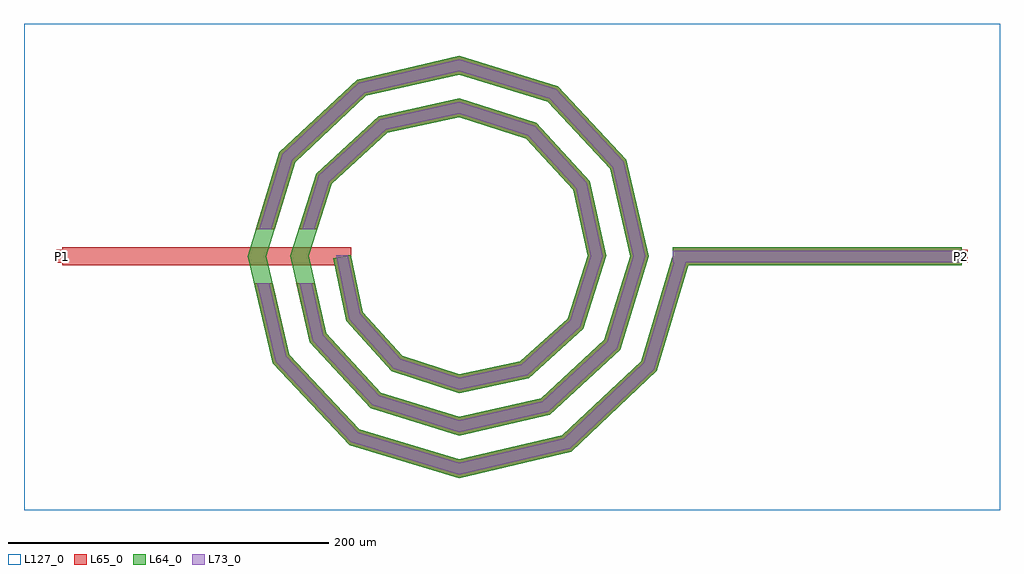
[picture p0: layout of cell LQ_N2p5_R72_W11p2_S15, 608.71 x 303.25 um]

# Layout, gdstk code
import gdstk
lib = gdstk.Library(unit=1e-6, precision=1e-09)
def R(c, l, rs):  # rectangles x0, y0, x1, y1
    for r in rs: c.add(gdstk.rectangle(r[:2], r[2:], *l))
def P(c, l, *ps):  # polygons
    for p in ps: c.add(gdstk.Polygon(p, *l))
L64_0 = (64, 0)
L65_0 = (65, 0)
L73_0 = (73, 0)
L127_0 = (127, 0)

lq_n2p5_r72_w11p2_s15 = lib.new_cell('LQ_N2p5_R72_W11p2_S15')
R(lq_n2p5_r72_w11p2_s15, L64_0, [(133.48,-5.6,313.48,5.6)])
P(lq_n2p5_r72_w11p2_s15, L64_0, [(-59.809,-34.898),(-35.459,-62.035),(0.3,-73.661),(38.188,-65.559),(67.759,-38.792),(80.286,0.277),(71.307,41.481),(42.123,73.486),(0.258,86.91),(-44.777,77.053),(-79.214,45.45),(-93.535,0.24),(-82.798,-48.075),(-48.776,-84.943),(0.225,-100.16),(51.375,-88.543),(90.674,-52.101),(106.784,0.212),(94.286,54.676),(55.424,96.405),(0.2,113.409),(-57.979,100.029),(-102.137,58.746),(-120.034,0.19),(-105.772,-61.283),(-62.067,-107.869),(0.18,-126.659),(64.587,-111.514),(113.602,-65.387),(133.716,1.61),(144.443,-1.61),(123.465,-71.484),(70.075,-121.729),(0.18,-138.249),(-68.179,-117.723),(-115.996,-66.755),(-131.624,0.19),(-111.98,64.875),(-63.433,110.263),(0.2,124.998),(61.572,106.237),(104.53,60.111),(118.373,0.212),(100.493,-58.27),(56.787,-98.799),(0.225,-111.747),(-54.969,-94.748),(-93.068,-53.461),(-105.121,0.24),(-89.002,51.669),(-50.134,87.338),(0.258,98.495),(48.372,83.255),(81.609,46.805),(91.869,0.277),(77.506,-45.077),(43.473,-75.882),(0.3,-85.243),(-41.785,-71.755),(-70.156,-40.137),(-78.309,-1.146),(-67.346,1.146)])
R(lq_n2p5_r72_w11p2_s15, L65_0, [(-247.227,-5.6,-67.227,5.6), (133.48,-5.6,313.48,5.6), (-251.227,-4,-243.227,4), (309.48,-4,317.48,4)])
P(lq_n2p5_r72_w11p2_s15, L65_0, [(-105.772,-61.283),(-62.067,-107.869),(0.18,-126.659),(64.587,-111.514),(113.602,-65.387),(133.716,1.61),(144.443,-1.61),(123.466,-71.484),(70.075,-121.729),(0.18,-138.249),(-68.179,-117.723),(-115.996,-66.755),(-127.658,-16.8),(-116.156,-16.8)],
  [(-82.798,-48.075),(-48.776,-84.943),(0.225,-100.16),(51.375,-88.543),(90.674,-52.101),(106.784,0.212),(94.286,54.677),(55.424,96.405),(0.2,113.409),(-57.979,100.029),(-102.137,58.746),(-114.875,16.8),(-126.58,16.8),(-111.98,64.875),(-63.433,110.263),(0.2,124.998),(61.572,106.237),(104.531,60.111),(118.373,0.212),(100.493,-58.27),(56.787,-98.799),(0.225,-111.747),(-54.969,-94.748),(-93.068,-53.461),(-101.297,-16.8),(-89.818,-16.8)],
  [(-35.459,-62.035),(0.3,-73.661),(38.188,-65.559),(67.76,-38.792),(80.286,0.277),(71.307,41.481),(42.123,73.486),(0.258,86.91),(-44.777,77.053),(-79.214,45.45),(-88.194,16.8),(-99.931,16.8),(-89.002,51.669),(-50.134,87.338),(0.258,98.496),(48.372,83.255),(81.609,46.805),(91.869,0.277),(77.506,-45.077),(43.473,-75.882),(0.3,-85.243),(-41.785,-71.755),(-70.156,-40.137),(-78.309,-1.146),(-67.346,1.146),(-59.809,-34.898)])
R(lq_n2p5_r72_w11p2_s15, L73_0, [(133.48,-3.6,313.48,3.6)])
P(lq_n2p5_r72_w11p2_s15, L73_0, [(-107.598,-62.26),(-63.158,-109.629),(0.116,-128.729),(65.567,-113.338),(115.364,-66.476),(135.632,1.035),(142.528,-1.035),(121.704,-70.396),(69.095,-119.905),(0.116,-136.18),(-67.088,-115.964),(-114.17,-65.778),(-125.604,-16.8),(-118.21,-16.8)],
  [(-84.632,-49.037),(-49.882,-86.694),(0.145,-102.229),(52.341,-90.374),(92.427,-53.202),(108.854,0.136),(96.116,55.647),(56.522,98.161),(0.129,115.479),(-58.953,101.857),(-103.895,59.84),(-116.965,16.8),(-124.49,16.8),(-110.223,63.781),(-62.459,108.435),(0.129,122.929),(60.474,104.481),(102.701,59.14),(116.303,0.136),(98.74,-57.168),(55.82,-96.967),(0.145,-109.678),(-53.863,-92.997),(-91.234,-52.5),(-99.247,-16.8),(-91.868,-16.8)],
  [(-36.589,-63.771),(0.193,-75.73),(39.132,-67.402),(69.5,-39.915),(82.354,0.178),(73.146,42.432),(43.239,75.23),(0.166,88.979),(-45.734,78.89),(-80.962,46.561),(-90.29,16.8),(-97.835,16.8),(-87.254,50.559),(-49.178,85.502),(0.166,96.427),(47.256,81.511),(79.77,45.854),(89.801,0.178),(75.766,-43.955),(42.529,-74.038),(0.193,-83.175),(-40.655,-70.02),(-68.308,-39.202),(-76.351,0.737),(-69.303,0.737),(-61.657,-35.834)])
R(lq_n2p5_r72_w11p2_s15, L127_0, [(-271.227,-158.249,337.48,144.998)])
lq_n2p5_r72_w11p2_s15.add(gdstk.Label('P2', (313.48,0), layer=65, texttype=0))
lq_n2p5_r72_w11p2_s15.add(gdstk.Label('P1', (-247.227,0), layer=65, texttype=0))
lq_n2p5_r72_w11p2_s15.add(gdstk.Label('P2', (317.48,0), layer=145, texttype=0))
lq_n2p5_r72_w11p2_s15.add(gdstk.Label('P1', (-251.227,0), layer=145, texttype=0))

lib.write_gds('LQ_N2p5_R72_W11p2_S15.gds')
